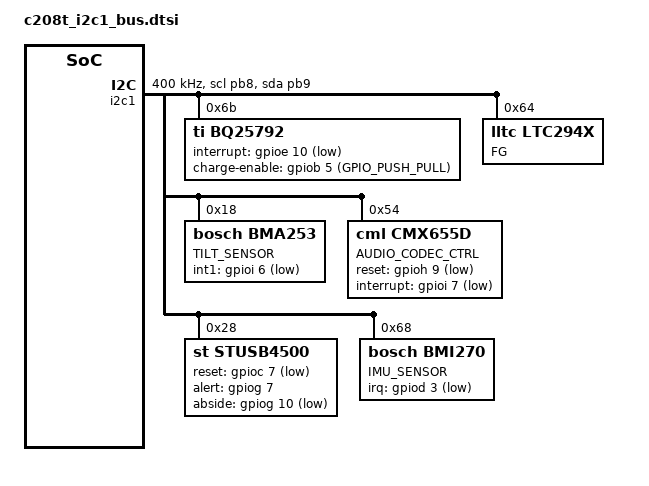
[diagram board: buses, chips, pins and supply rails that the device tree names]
/*
 * Copyright (c) 2024 Acme CPU
 *
 * C208T I2C1 bus has
 *		- BQ25792
 *		- LTC2944
 *		- BMA253
 *		- CMX655D
 *		- STUSB4500
 *		- BMI270
 *		- TPA2028D
 *		- STSPIN32F0A
  *		- STSPIN32G4
 */

 &i2c1 {
	pinctrl-0 = <&i2c1_scl_pb8 &i2c1_sda_pb9>;
	pinctrl-names = "default";
	status = "okay";
	clock-frequency = <I2C_BITRATE_FAST>;
	
	bq25792: bq25792@6b {
    	compatible = "ti,bq25792";
    	reg = <0x6b>;
    	
    	interrupt-gpios = <&gpioe 10 (GPIO_PULL_UP | GPIO_ACTIVE_LOW)>;
    	charge-enable-gpios = <&gpiob 5 (GPIO_PUSH_PULL)>;
    	
        watchdog-timer = <0>;						/* disable watchdog timer */
        input-voltage-limit-microvolt = <22000000>;	/* 22 V */
        input-current-limit-microamp = <3300000>;	/* 3.3 Amp */
	};

  	fuelgauge: ltc2944@64 {
		compatible = "lltc,ltc294x";
		reg = <0x64>;
		resistor-sense = <10>;
		prescaler-exponent = <6>; 	/* for Qbat=1500 mAh, Rsense=10 mOhm [(4096 * 1500 * 10)/(2^16 * 0.340 * 50)] */
		device-id = <4>;			/* LTC2941 = 1, LTC2942 = 2, LTC2943 = 3, LTC2944 = 4 */
		label = "FG";
	};

	bma253@18 {
		compatible = "bosch,bma253";
		reg = <0x18>;
		label = "TILT_SENSOR";
		int1-gpios = <&gpioi 6 (GPIO_PULL_UP | GPIO_ACTIVE_LOW)>;
	};

	audio_codec_ctrl: cmx655d@54 {
		compatible = "cml,cmx655d";
    	reg = <0x54>;
    	label = "AUDIO_CODEC_CTRL";
    	classd-oc-reset-attempts = <5>;
    	reset-gpios = <&gpioh 9 (GPIO_ACTIVE_LOW)>;
    	interrupt-gpios = <&gpioi 7 (GPIO_PULL_UP | GPIO_ACTIVE_LOW)>;
	};
	
  	stusb4500: stusb4500@28 {
		compatible = "st,stusb4500";
		reg = <0x28>;
    	reset-gpios = <&gpioc 7 (GPIO_ACTIVE_LOW)>;
    	alert-gpios = <&gpiog 7 (GPIO_PULL_UP)>;
    	abside-gpios = <&gpiog 10 (GPIO_PULL_UP | GPIO_ACTIVE_LOW)>;
  	};
  	
  	bmi270@68 {
		compatible = "bosch,bmi270";
		reg = <0x68>;
		label = "IMU_SENSOR";
		irq-gpios = <&gpiod 3 (GPIO_PULL_UP | GPIO_ACTIVE_LOW)>;
	};
	/*
	audio_amp_ctrl: tpa2028d@58 {
		compatible = "tp,tpa2028d";
    	reg = <0x54>;
    	label = "AUDIO_AMPLIFIER_CTRL";
    	#classd-oc-reset-attempts = <5>;
    	#reset-gpios = <&gpioh 9 (GPIO_ACTIVE_LOW)>;
    	#interrupt-gpios = <&gpioi 7 (GPIO_PULL_UP | GPIO_ACTIVE_LOW)>;
	};
	*/
	
	/*	
	motor_driver: stspin32f0a@10 {
		compatible = "st,stspin32f0a";
		reg = <0x10>
		label = "BLDC_DRIVER"
	}
	*/
	
	/*	
	motor_driver: stspin32g4@10 {
		compatible = "st,stspin32g4";
		reg = <0x10>
		label = "BLDC_DRIVER"
	}
	*/
};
